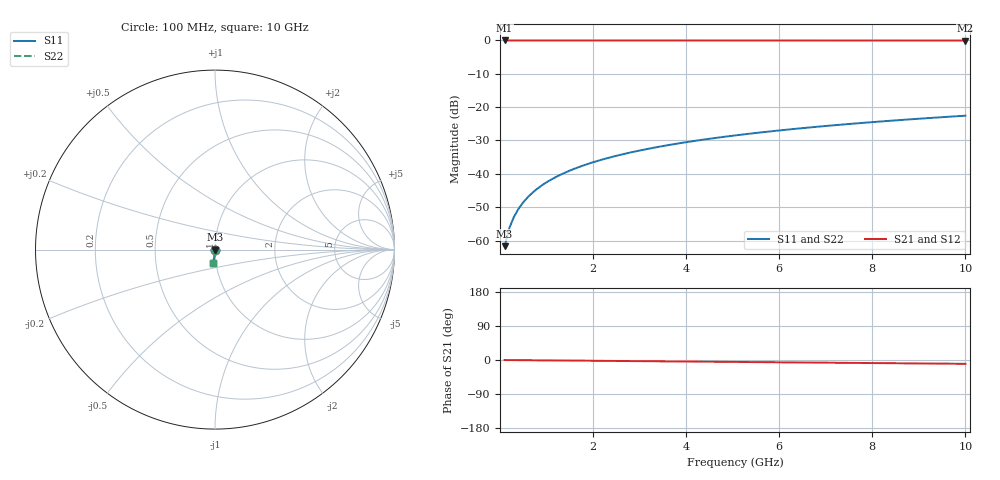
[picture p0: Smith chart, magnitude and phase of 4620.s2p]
# Hz S RI R 50.00
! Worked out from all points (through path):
!   100 points, 100 MHz to 10 GHz, reference 50 ohm
!   highest |S21| = 0.00 dB at 100 MHz (marker M1); lowest = 0.0 dB at 10 GHz (marker M2)
!   group delay of S21, straight-line fit = 2.8 ps
!   lowest |S11| = -61.7 dB at 100 MHz (marker M3), VSWR 1.00, Z = 50 - j0.0745 ohm
!   |S11| at or under -10 dB: start of sweep to end of sweep
!   |S22| runs from -61.7 to -22.6 dB; largest |S21 - S12| = 0
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1e8  0.000349 -0.000745  0.9996 -0.00175  0.9996 -0.00175  0.000349 -0.000745
2e8  0.000346 -0.00149  0.9996 -0.00351  0.9996 -0.00351  0.000346 -0.00149
3e8  0.00034 -0.00223  0.9996 -0.00526  0.9996 -0.00526  0.00034 -0.00223
4e8  0.000332 -0.00298  0.9996 -0.00702  0.9996 -0.00702  0.000332 -0.00298
5e8  0.00032 -0.00372  0.9996 -0.00877  0.9996 -0.00877  0.00032 -0.00372
6e8  0.000305 -0.00447  0.9996 -0.0105  0.9996 -0.0105  0.000305 -0.00447
7e8  0.000288 -0.00521  0.9995 -0.0123  0.9995 -0.0123  0.000288 -0.00521
8e8  0.000268 -0.00596  0.9995 -0.014  0.9995 -0.014  0.000268 -0.00596
9e8  0.000246 -0.0067  0.9995 -0.0158  0.9995 -0.0158  0.000246 -0.0067
1.1e9  0.000193 -0.00819  0.9994 -0.0193  0.9994 -0.0193  0.000193 -0.00819
1.4e9  9.32e-05 -0.0104  0.9993 -0.0246  0.9993 -0.0246  9.32e-05 -0.0104
1.8e9  -7.65e-05 -0.0134  0.999 -0.0316  0.999 -0.0316  -7.65e-05 -0.0134
2.1e9  -0.000231 -0.0156  0.9988 -0.0369  0.9988 -0.0369  -0.000231 -0.0156
2.5e9  -0.000475 -0.0186  0.9985 -0.0439  0.9985 -0.0439  -0.000475 -0.0186
2.9e9  -0.00076 -0.0216  0.9981 -0.0509  0.9981 -0.0509  -0.00076 -0.0216
3.4e9  -0.00118 -0.0253  0.9975 -0.0597  0.9975 -0.0597  -0.00118 -0.0253
4.2e9  -0.00198 -0.0312  0.9964 -0.0737  0.9964 -0.0737  -0.00198 -0.0312
5.1e9  -0.00308 -0.0379  0.9948 -0.0894  0.9948 -0.0894  -0.00308 -0.0379
5.9e9  -0.00424 -0.0437  0.9932 -0.1034  0.9932 -0.1034  -0.00424 -0.0437
6.7e9  -0.00556 -0.0496  0.9913 -0.1174  0.9913 -0.1174  -0.00556 -0.0496
8.4e9  -0.00892 -0.0619  0.9866 -0.147  0.9866 -0.147  -0.00892 -0.0619
1e10  -0.0128 -0.0733  0.9813 -0.1747  0.9813 -0.1747  -0.0128 -0.0733
